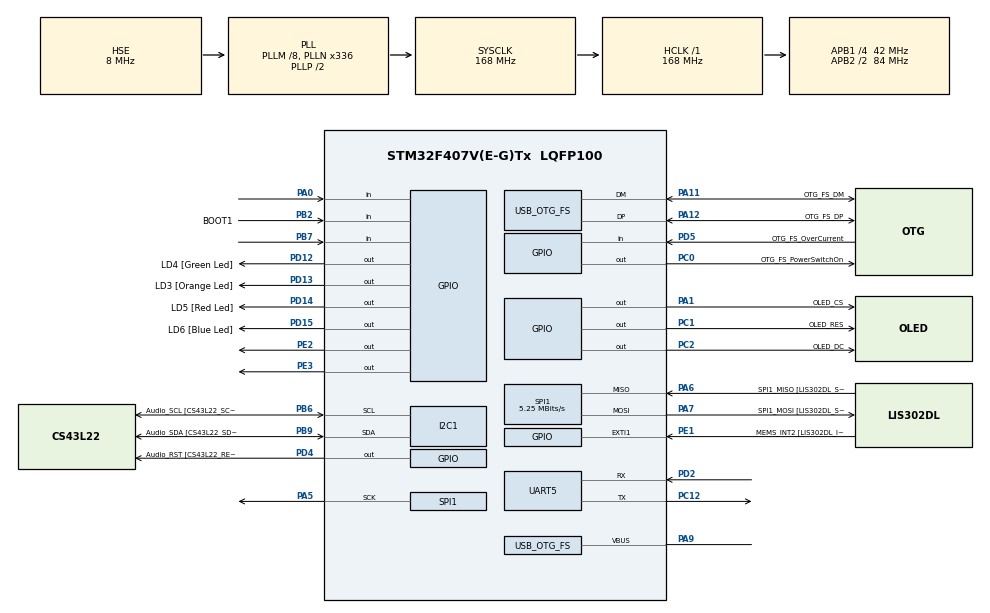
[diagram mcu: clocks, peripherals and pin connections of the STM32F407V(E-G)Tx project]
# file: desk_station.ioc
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FREERTOS.Tasks01=defaultTask,24,128,StartDefaultTask,Default,NULL,Dynamic,NULL,NULL
Mcu.Family=STM32F4
Mcu.Name=STM32F407V(E-G)Tx
Mcu.Package=LQFP100
NVIC.OTG_FS_IRQn=true\:5\:0\:false\:false\:true\:true\:true\:true\:true
NVIC.PriorityGroup=NVIC_PRIORITYGROUP_4
NVIC.TIM6_DAC_IRQn=true\:15\:0\:false\:false\:true\:false\:false\:true\:true
NVIC.TimeBase=TIM6_DAC_IRQn
NVIC.TimeBaseIP=TIM6
NVIC.UART5_IRQn=true\:5\:0\:false\:false\:true\:true\:true\:true\:true
PA0-WKUP.Signal=GPIO_Input
PA1.GPIO_Label=OLED_CS
PA1.GPIO_Speed=GPIO_SPEED_FREQ_HIGH
PA1.PinState=GPIO_PIN_SET
PA1.Signal=GPIO_Output
PA10.GPIO_Label=OTG_FS_ID
PA10.GPIO_Mode=GPIO_MODE_AF_PP
PA10.GPIO_PuPd=GPIO_NOPULL
PA10.GPIO_Speed=GPIO_SPEED_FREQ_LOW
PA10.Signal=USB_OTG_FS_ID
PA11.GPIO_Label=OTG_FS_DM
PA11.GPIO_Mode=GPIO_MODE_AF_PP
PA11.GPIO_PuPd=GPIO_NOPULL
PA11.GPIO_Speed=GPIO_SPEED_FREQ_LOW
PA11.Mode=Host_Only
PA11.Signal=USB_OTG_FS_DM
PA12.GPIO_Label=OTG_FS_DP
PA12.GPIO_Mode=GPIO_MODE_AF_PP
PA12.GPIO_PuPd=GPIO_NOPULL
PA12.GPIO_Speed=GPIO_SPEED_FREQ_LOW
PA12.Mode=Host_Only
PA12.Signal=USB_OTG_FS_DP
PA13.GPIO_Label=SWDIO
PA13.Mode=Serial_Wire
PA13.Signal=SYS_JTMS-SWDIO
PA14.GPIO_Label=SWCLK
PA14.Mode=Serial_Wire
PA14.Signal=SYS_JTCK-SWCLK
PA4.GPIO_Label=I2S3_WS [CS43L22_LRCK]
PA4.GPIO_Mode=GPIO_MODE_AF_PP
PA4.GPIO_PuPd=GPIO_NOPULL
PA4.GPIO_Speed=GPIO_SPEED_FREQ_LOW
PA4.Signal=I2S3_WS
PA5.Mode=Full_Duplex_Master
PA5.Signal=SPI1_SCK
PA6.GPIO_Label=SPI1_MISO [LIS302DL_SDO]
PA6.GPIO_Mode=GPIO_MODE_AF_PP
PA6.GPIO_PuPd=GPIO_NOPULL
PA6.GPIO_Speed=GPIO_SPEED_FREQ_LOW
PA6.Mode=Full_Duplex_Master
PA6.Signal=SPI1_MISO
PA7.GPIO_Label=SPI1_MOSI [LIS302DL_SDA/SDI/SDO]
PA7.GPIO_Mode=GPIO_MODE_AF_PP
PA7.GPIO_PuPd=GPIO_NOPULL
PA7.GPIO_Speed=GPIO_SPEED_FREQ_LOW
PA7.Mode=Full_Duplex_Master
PA7.Signal=SPI1_MOSI
PA9.Mode=Activate_VBUS
PA9.Signal=USB_OTG_FS_VBUS
PB10.GPIO_Label=CLK_IN [MP45DT02_CLK]
PB10.GPIO_Mode=GPIO_MODE_AF_PP
PB10.GPIO_PuPd=GPIO_NOPULL
PB10.GPIO_Speed=GPIO_SPEED_FREQ_LOW
PB10.Signal=I2S2_CK
PB2.GPIO_Label=BOOT1
PB2.GPIO_Mode=GPIO_MODE_INPUT
PB2.GPIO_PuPd=GPIO_NOPULL
PB2.Signal=GPIO_Input
PB3.GPIO_Label=SWO
PB3.Signal=SYS_JTDO-SWO
PB6.GPIO_Label=Audio_SCL [CS43L22_SCL]
PB6.GPIO_Mode=GPIO_MODE_AF_OD
PB6.GPIO_Pu=GPIO_PULLUP
PB6.GPIO_PuPd=GPIO_NOPULL
PB6.GPIO_Speed=GPIO_SPEED_FREQ_LOW
PB6.Mode=I2C
PB6.Signal=I2C1_SCL
PB7.GPIO_PuPd=GPIO_PULLDOWN
PB7.Signal=GPIO_Input
PB9.GPIO_Label=Audio_SDA [CS43L22_SDA]
PB9.GPIO_Mode=GPIO_MODE_AF_OD
PB9.GPIO_Pu=GPIO_PULLUP
PB9.GPIO_PuPd=GPIO_NOPULL
PB9.GPIO_Speed=GPIO_SPEED_FREQ_LOW
PB9.Mode=I2C
PB9.Signal=I2C1_SDA
PC0.GPIO_Label=OTG_FS_PowerSwitchOn
PC0.GPIO_PuPd=GPIO_NOPULL
PC0.GPIO_Speed=GPIO_SPEED_FREQ_LOW
PC0.PinState=GPIO_PIN_SET
PC0.Signal=GPIO_Output
PC1.GPIO_Label=OLED_RES
PC1.GPIO_Speed=GPIO_SPEED_FREQ_HIGH
PC1.PinState=GPIO_PIN_SET
PC1.Signal=GPIO_Output
PC10.GPIO_Label=I2S3_SCK [CS43L22_SCLK]
PC10.GPIO_Mode=GPIO_MODE_AF_PP
PC10.GPIO_PuPd=GPIO_NOPULL
PC10.GPIO_Speed=GPIO_SPEED_FREQ_LOW
PC10.Signal=I2S3_CK
PC12.Mode=Asynchronous
PC12.Signal=UART5_TX
PC14-OSC32_IN.GPIO_Label=PC14-OSC32_IN
PC14-OSC32_IN.Mode=LSE-External-Oscillator
PC14-OSC32_IN.Signal=RCC_OSC32_IN
PC15-OSC32_OUT.GPIO_Label=PC15-OSC32_OUT
PC15-OSC32_OUT.Mode=LSE-External-Oscillator
PC15-OSC32_OUT.Signal=RCC_OSC32_OUT
PC2.GPIO_Label=OLED_DC
PC2.GPIO_Speed=GPIO_SPEED_FREQ_HIGH
PC2.Signal=GPIO_Output
PC3.GPIO_Label=PDM_OUT [MP45DT02_DOUT]
PC3.GPIO_Mode=GPIO_MODE_AF_PP
PC3.GPIO_PuPd=GPIO_NOPULL
PC3.GPIO_Speed=GPIO_SPEED_FREQ_LOW
PC3.Signal=I2S2_SD
PC7.GPIO_Label=I2S3_MCK [CS43L22_MCLK]
PC7.GPIO_Mode=GPIO_MODE_AF_PP
PC7.GPIO_PuPd=GPIO_NOPULL
PC7.GPIO_Speed=GPIO_SPEED_FREQ_LOW
PC7.Signal=I2S3_MCK
PD12.GPIO_Label=LD4 [Green Led]
PD12.GPIO_PuPd=GPIO_NOPULL
PD12.GPIO_Speed=GPIO_SPEED_FREQ_LOW
PD12.Signal=GPIO_Output
PD13.GPIO_Label=LD3 [Orange Led]
PD13.GPIO_PuPd=GPIO_NOPULL
PD13.GPIO_Speed=GPIO_SPEED_FREQ_LOW
PD13.Signal=GPIO_Output
PD14.GPIO_Label=LD5 [Red Led]
PD14.GPIO_PuPd=GPIO_NOPULL
PD14.GPIO_Speed=GPIO_SPEED_FREQ_LOW
PD14.Signal=GPIO_Output
PD15.GPIO_Label=LD6 [Blue Led]
PD15.GPIO_PuPd=GPIO_NOPULL
PD15.GPIO_Speed=GPIO_SPEED_FREQ_LOW
PD15.Signal=GPIO_Output
PD2.Mode=Asynchronous
PD2.Signal=UART5_RX
PD4.GPIO_Label=Audio_RST [CS43L22_RESET]
PD4.GPIO_PuPd=GPIO_NOPULL
PD4.GPIO_Speed=GPIO_SPEED_FREQ_LOW
PD4.Signal=GPIO_Output
PD5.GPIO_Label=OTG_FS_OverCurrent
PD5.GPIO_Mode=GPIO_MODE_INPUT
PD5.GPIO_PuPd=GPIO_NOPULL
PD5.Signal=GPIO_Input
PE1.GPIO_Label=MEMS_INT2 [LIS302DL_INT2]
PE1.GPIO_ModeDefaultEXTI=GPIO_MODE_EVT_RISING
PE1.GPIO_PuPd=GPIO_NOPULL
PE1.Signal=GPXTI1
PE2.Signal=GPIO_Output
PE3.PinState=GPIO_PIN_SET
PE3.Signal=GPIO_Output
PH0-OSC_IN.GPIO_Label=PH0-OSC_IN
PH0-OSC_IN.Mode=HSE-External-Oscillator
PH0-OSC_IN.Signal=RCC_OSC_IN
PH1-OSC_OUT.GPIO_Label=PH1-OSC_OUT
PH1-OSC_OUT.Mode=HSE-External-Oscillator
PH1-OSC_OUT.Signal=RCC_OSC_OUT
ProjectManager.HeapSize=0x200
ProjectManager.StackSize=0x400
ProjectManager.TargetToolchain=STM32CubeIDE
RCC.48MHZClocksFreq_Value=48000000
RCC.AHBFreq_Value=168000000
RCC.APB1CLKDivider=RCC_HCLK_DIV4
RCC.APB1Freq_Value=42000000
RCC.APB1TimFreq_Value=84000000
RCC.APB2CLKDivider=RCC_HCLK_DIV2
RCC.APB2Freq_Value=84000000
RCC.APB2TimFreq_Value=168000000
RCC.CortexFreq_Value=168000000
RCC.HCLKFreq_Value=168000000
RCC.HSE_VALUE=8000000
RCC.HSI_VALUE=16000000
RCC.PLLM=8
RCC.PLLN=336
RCC.PLLQ=7
RCC.SYSCLKFreq_VALUE=168000000
RCC.SYSCLKSource=RCC_SYSCLKSOURCE_PLLCLK
RCC.VCOOutputFreq_Value=336000000
SPI1.BaudRatePrescaler=SPI_BAUDRATEPRESCALER_16
SPI1.CalculateBaudRate=5.25 MBits/s
SPI1.Direction=SPI_DIRECTION_2LINES
SPI1.Mode=SPI_MODE_MASTER
SPI1.VirtualType=VM_MASTER
UART5.VirtualMode=Asynchronous
USB_HOST.BSP.number=1
USB_HOST.USBH_HandleTypeDef-CDC_FS=hUsbHostFS
USB_HOST.USBH_USE_OS-CDC_FS=0
USB_HOST.VirtualModeFS=Cdc
USB_HOST0.BSP.STBoard=false
USB_HOST0.BSP.api=Unknown
USB_HOST0.BSP.instance=PC0
USB_HOST0.BSP.ip=GPIO
USB_HOST0.BSP.mode=Output
USB_HOST0.BSP.name=Drive_VBUS_FS
USB_HOST0.BSP.solution=PC0
USB_OTG_FS.VirtualMode=Host_Only
USB_OTG_FS.phy_itface=HCD_PHY_EMBEDDED
VP_FREERTOS_VS_CMSIS_V2.Mode=CMSIS_V2
VP_SYS_VS_tim6.Mode=TIM6
VP_USB_HOST_VS_USB_HOST_CDC_FS.Mode=CDC_FS
board=STM32F407G-DISC1

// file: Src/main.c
/* USER CODE BEGIN Header */
/**
  ******************************************************************************
  * @file           : main.c
  * @brief          : Main program body
  ******************************************************************************
  * @attention
  *
  * Copyright (c) 2026 STMicroelectronics.
  * All rights reserved.
  *
  * This software is licensed under terms that can be found in the LICENSE file
  * in the root directory of this software component.
  * If no LICENSE file comes with this software, it is provided AS-IS.
  *
  ******************************************************************************
  */
/* USER CODE END Header */
#include "main.h"
#include "cmsis_os.h"
#include "usb_host.h"

/* USER CODE BEGIN Includes */

#include <stdbool.h>
#include <stdlib.h>
#include <stdint.h>
#include <stdio.h>
#include <string.h>

/* USER CODE END Includes */

/* USER CODE BEGIN PTD */

typedef struct {
	GPIO_TypeDef *port;
	uint16_t pin;
	bool last_state;
	uint32_t last_debounce_tick;
} button_t;

typedef enum {
	REST,
	COUNTDOWN,
	ALARM
} timer_state_t;

typedef struct {
	uint16_t dig_T1;
	int16_t  dig_T2;
	int16_t  dig_T3;
} bmp280_calib_t;

/* USER CODE END PTD */

/* USER CODE BEGIN PD */

#define UART_RX_BUFFER_SIZE 32
#define ALARM_BLINK_INTERVAL_MS 500
#define BUTTON_DEBOUNCE_MS 50

#define OLED_WIDTH 128
#define OLED_HEIGHT 64

#define BMP280_I2C_ADDR (0x76 << 1)
#define BMP280_REG_ID 0xD0
#define BMP280_REG_CTRL_MEAS 0xF4
#define BMP280_REG_TEMP_MSB 0xFA
#define BMP280_REG_CALIB 0x88

/* USER CODE END PD */

I2C_HandleTypeDef hi2c1;

SPI_HandleTypeDef hspi1;

UART_HandleTypeDef huart5;

/* Definitions for defaultTask */
osThreadId_t defaultTaskHandle;
const osThreadAttr_t defaultTask_attributes = {
  .name = "defaultTask",
  .stack_size = 512 * 4,
  .priority = (osPriority_t) osPriorityNormal,
};

osThreadId_t sensorTaskHandle;
const osThreadAttr_t sensorTask_attributes = {
  .name = "sensorTask",
  .stack_size = 256 * 4,
  .priority = (osPriority_t) osPriorityBelowNormal,
};

/* USER CODE BEGIN PV */

osMutexId_t temperatureMutexHandle;
static float shared_temperature = 0.0f;

static uint32_t countdown_duration = 0;
static uint32_t timer_seconds_remaining = 0;
static timer_state_t timer_current_state = REST;
static uint32_t timer_start_tick = 0;
static uint32_t alarm_last_blink_tick = 0;

static uint8_t rx_byte = 0;
static char rx_line_buffer[UART_RX_BUFFER_SIZE];
static uint8_t rx_index = 0;
static volatile bool command_received = false;

static button_t start_button = {
	.port = GPIOA,
	.pin = GPIO_PIN_0,
	.last_state = 0,
	.last_debounce_tick = 0
};
static button_t stop_button = {
	.port = GPIOB,
	.pin = GPIO_PIN_7,
	.last_state = 0,
	.last_debounce_tick = 0
};

uint32_t last_display_tick = 0;
static uint8_t oled_buffer[OLED_WIDTH * OLED_HEIGHT / 8];
static const uint8_t font_map[][5] = {
    {0x00, 0x00, 0x00, 0x00, 0x00}, // Space (Index 0)
    {0x00, 0x00, 0x5F, 0x00, 0x00}, // !
    {0x00, 0x07, 0x00, 0x07, 0x00}, // "
    {0x14, 0x7F, 0x14, 0x7F, 0x14}, // #
    {0x24, 0x2A, 0x7F, 0x2A, 0x12}, // $
    {0x23, 0x13, 0x08, 0x64, 0x62}, // %
    {0x36, 0x49, 0x55, 0x22, 0x50}, // &
    {0x00, 0x05, 0x03, 0x00, 0x00}, // '
    {0x00, 0x1C, 0x22, 0x41, 0x00}, // (
    {0x00, 0x41, 0x22, 0x1C, 0x00}, // )
    {0x14, 0x08, 0x3E, 0x08, 0x14}, // *
    {0x08, 0x08, 0x3E, 0x08, 0x08}, // +
    {0x00, 0x50, 0x30, 0x00, 0x00}, // ,
    {0x08, 0x08, 0x08, 0x08, 0x08}, // -
    {0x00, 0x60, 0x60, 0x00, 0x00}, // .
    {0x20, 0x10, 0x08, 0x04, 0x02}, // /
    {0x3E, 0x51, 0x49, 0x45, 0x3E}, // 0 (Index 16)
    {0x00, 0x42, 0x7F, 0x40, 0x00}, // 1
    {0x42, 0x61, 0x51, 0x49, 0x46}, // 2
    {0x21, 0x41, 0x45, 0x4B, 0x31}, // 3
    {0x18, 0x14, 0x12, 0x7F, 0x10}, // 4
    {0x27, 0x45, 0x45, 0x45, 0x39}, // 5
    {0x3C, 0x4A, 0x49, 0x49, 0x30}, // 6
    {0x01, 0x71, 0x09, 0x05, 0x03}, // 7
    {0x36, 0x49, 0x49, 0x49, 0x36}, // 8
    {0x06, 0x49, 0x49, 0x29, 0x1E}, // 9
    {0x00, 0x36, 0x36, 0x00, 0x00}, // :
    {0x00, 0x56, 0x36, 0x00, 0x00}, // ;
    {0x08, 0x14, 0x22, 0x41, 0x00}, // <
    {0x14, 0x14, 0x14, 0x14, 0x14}, // =
    {0x00, 0x41, 0x22, 0x14, 0x08}, // >
    {0x02, 0x01, 0x51, 0x09, 0x06}, // ?
    {0x32, 0x49, 0x79, 0x41, 0x3E}, // @
    {0x7E, 0x11, 0x11, 0x11, 0x7E}, // A
    {0x7F, 0x49, 0x49, 0x49, 0x36}, // B
    {0x3E, 0x41, 0x41, 0x41, 0x22}, // C
    {0x7F, 0x41, 0x41, 0x22, 0x1C}, // D
    {0x7F, 0x49, 0x49, 0x49, 0x41}, // E
    {0x7F, 0x09, 0x09, 0x09, 0x01}, // F
    {0x3E, 0x41, 0x49, 0x49, 0x7A}, // G
    {0x7F, 0x08, 0x08, 0x08, 0x7F}, // H
    {0x00, 0x41, 0x7F, 0x41, 0x00}, // I
    {0x20, 0x40, 0x41, 0x3F, 0x01}, // J
    {0x7F, 0x08, 0x14, 0x22, 0x41}, // K
    {0x7F, 0x40, 0x40, 0x40, 0x40}, // L
    {0x7F, 0x02, 0x0C, 0x02, 0x7F}, // M
    {0x7F, 0x04, 0x08, 0x10, 0x7F}, // N
    {0x3E, 0x41, 0x41, 0x41, 0x3E}, // O
    {0x7F, 0x09, 0x09, 0x09, 0x06}, // P
    {0x3E, 0x41, 0x51, 0x21, 0x5E}, // Q
    {0x7F, 0x09, 0x19, 0x29, 0x46}, // R
    {0x46, 0x49, 0x49, 0x49, 0x31}, // S (Index 51)
    {0x01, 0x01, 0x7F, 0x01, 0x01}, // T
    {0x3F, 0x40, 0x40, 0x40, 0x3F}, // U
    {0x1F, 0x20, 0x40, 0x20, 0x1F}, // V
    {0x3F, 0x40, 0x38, 0x40, 0x3F}, // W
    {0x63, 0x14, 0x08, 0x14, 0x63}, // X
    {0x07, 0x08, 0x70, 0x08, 0x07}, // Y
    {0x61, 0x51, 0x49, 0x45, 0x43}  // Z
};

static bmp280_calib_t bmp_calib;

/* USER CODE END PV */

void SystemClock_Config(void);
static void MX_GPIO_Init(void);
static void MX_I2C1_Init(void);
static void MX_SPI1_Init(void);
static void MX_UART5_Init(void);
void StartDefaultTask(void *argument);

/* USER CODE BEGIN PFP */

static bool check_button_pressed(button_t *button, uint32_t now);
static uint32_t convert_input_to_ms(const char *input);

void oled_clear(void);
void oled_update(void);
void oled_draw_pixel(uint8_t x, uint8_t y, bool color);
void oled_draw_char(uint8_t x, uint8_t y, char c);
void oled_draw_string(uint8_t x, uint8_t y, const char *str);

bool bmp280_init(void);
float bmp280_read_temperature(void);
float bmp280_read_temperature_f(void);

void StartSensorTask(void *argument);

/* USER CODE END PFP */

/* USER CODE BEGIN 0 */

static bool check_button_pressed(button_t *button, uint32_t now) {
	bool pin_state = (HAL_GPIO_ReadPin(button -> port, button -> pin) == GPIO_PIN_SET);
	bool button_pressed = false;
	if (pin_state != button -> last_state && (now - button -> last_debounce_tick) >= BUTTON_DEBOUNCE_MS) {
		button -> last_state = pin_state;
		button -> last_debounce_tick = now;
		if (pin_state) button_pressed = true;
	}
	return button_pressed;
}

static void oled_write_cmd(uint8_t cmd) {
	HAL_GPIO_WritePin(OLED_DC_GPIO_Port, OLED_DC_Pin, GPIO_PIN_RESET);
	HAL_GPIO_WritePin(OLED_CS_GPIO_Port, OLED_CS_Pin, GPIO_PIN_RESET);
	HAL_SPI_Transmit(&hspi1, &cmd, 1, 10);
	HAL_GPIO_WritePin(OLED_CS_GPIO_Port, OLED_CS_Pin, GPIO_PIN_SET);
}

static void oled_write_data(uint8_t *data, uint16_t size) {
	HAL_GPIO_WritePin(OLED_DC_GPIO_Port, OLED_DC_Pin, GPIO_PIN_SET);
	HAL_GPIO_WritePin(OLED_CS_GPIO_Port, OLED_CS_Pin, GPIO_PIN_RESET);
	HAL_SPI_Transmit(&hspi1, data, size, 100);
	HAL_GPIO_WritePin(OLED_CS_GPIO_Port, OLED_CS_Pin, GPIO_PIN_SET);
}

void oled_init(void) {
	HAL_GPIO_WritePin(GPIOC, OLED_RES_Pin, GPIO_PIN_RESET);
	HAL_Delay(10);
	HAL_GPIO_WritePin(GPIOC, OLED_RES_Pin, GPIO_PIN_SET);
	HAL_Delay(10);

	oled_write_cmd(0xAE);

	oled_write_cmd(0x20);
	oled_write_cmd(0x00);

	oled_write_cmd(0xA8);
	oled_write_cmd(0x3F);

	oled_write_cmd(0xD3);
	oled_write_cmd(0x00);

	oled_write_cmd(0x40);

	oled_write_cmd(0xA1);

	oled_write_cmd(0xC8);

	oled_write_cmd(0xDA);
	oled_write_cmd(0x12);

	oled_write_cmd(0x81);
	oled_write_cmd(0x7F);

	oled_write_cmd(0xA4);

	oled_write_cmd(0xA6);

	oled_write_cmd(0xD5);
	oled_write_cmd(0x80);

	oled_write_cmd(0x8D);
	oled_write_cmd(0x14);

	oled_clear();
	oled_update();

	oled_write_cmd(0xAF);
}

void oled_clear(void) {
	memset(oled_buffer, 0, sizeof(oled_buffer));
}

void oled_update(void) {
	oled_write_cmd(0x21); oled_write_cmd(0); oled_write_cmd(OLED_WIDTH - 1);
	oled_write_cmd(0x22); oled_write_cmd(0); oled_write_cmd((OLED_HEIGHT / 8) - 1);
	oled_write_data(oled_buffer, sizeof(oled_buffer));
}

void oled_draw_pixel(uint8_t x, uint8_t y, bool color) {
	if (x >= OLED_WIDTH || y >= OLED_HEIGHT) return;
	if (color) {
		oled_buffer[x + (y / 8) * OLED_WIDTH] |= (1 << (y % 8));
	} else {
		oled_buffer[x + (y / 8) * OLED_WIDTH] &= ~(1 << (y % 8));
	}
}

void oled_draw_char(uint8_t x, uint8_t y, char c) {
	if (c < 32 || c > 90) return;
	uint8_t font_index = c - 32;
	for (uint8_t col = 0; col < 5; col++) {
		uint8_t line = font_map[font_index][col];
		for (uint8_t row = 0; row < 7; row++) {
			if (line & (1 << row)) {
				oled_draw_pixel(x + col, y + row, true);
			}
		}
	}
}

void oled_draw_string(uint8_t x, uint8_t y, const char *str) {
	while (*str) {
		if (x + 6 >= OLED_WIDTH) {
			x = 0;
			y += 8;
		}
		oled_draw_char(x, y, *str);
		x += 6;
		str++;
	}
}

bool bmp280_init(void) {
	uint8_t chip_id = 0;
	HAL_I2C_Mem_Read(&hi2c1, BMP280_I2C_ADDR, BMP280_REG_ID, 1, &chip_id, 1, 100);
	if (chip_id != 0x58) {
		return false;
	}

	uint8_t cali_raw[6];
	HAL_I2C_Mem_Read(&hi2c1, BMP280_I2C_ADDR, BMP280_REG_CALIB, 1, cali_raw, 6, 100);
	bmp_calib.dig_T1 = (uint16_t)(cali_raw[1] << 8) | cali_raw[0];
	bmp_calib.dig_T2 = (int16_t)(cali_raw[3] << 8) | cali_raw[2];
	bmp_calib.dig_T3 = (int16_t)(cali_raw[5] << 8) | cali_raw[4];

	uint8_t ctrl_meas = 0x23;
	HAL_I2C_Mem_Write(&hi2c1, BMP280_I2C_ADDR, BMP280_REG_CTRL_MEAS, 1, &ctrl_meas, 1, 100);

	return true;
}

float bmp280_read_temperature(void) {
	uint8_t raw[3];
	HAL_I2C_Mem_Read(&hi2c1, BMP280_I2C_ADDR, BMP280_REG_TEMP_MSB, 1, raw, 3, 100);

	int32_t adc_T = (int32_t)(((uint32_t)raw[0] << 12) | ((uint32_t)raw[1] << 4) | ((uint32_t)raw[2] >> 4));

	int32_t var1 = ((((adc_T >> 3) - ((int32_t)bmp_calib.dig_T1 << 1))) * ((int32_t)bmp_calib.dig_T2)) >> 11;
	int32_t var2 = (((((adc_T >> 4) - ((int32_t)bmp_calib.dig_T1)) * ((adc_T >> 4) - ((int32_t)bmp_calib.dig_T1))) >> 12) * ((int32_t)bmp_calib.dig_T3)) >> 14;
	int32_t t_fine = var1 + var2;

	int32_t T = (t_fine * 5 + 128) >> 8;
	return (float)T / 100.0f;
}

float bmp280_read_temperature_f(void) {
	float temp_c = bmp280_read_temperature();
	return (temp_c * 1.8f) + 32.0f;
}

/* USER CODE END 0 */

int main(void)
{

  /* MCU Configuration--------------------------------------------------------*/

  /* Reset of all peripherals, Initializes the Flash interface and the Systick. */
  HAL_Init();

  /* Configure the system clock */
  SystemClock_Config();

  /* Initialize all configured peripherals */
  MX_GPIO_Init();
  MX_I2C1_Init();
  MX_SPI1_Init();
  MX_UART5_Init();
  /* USER CODE BEGIN 2 */

  HAL_UART_Receive_IT(&huart5, &rx_byte, 1);

  oled_init();
  bmp280_init();

  /* USER CODE END 2 */

  /* Init scheduler */
  osKernelInitialize();

  /* USER CODE BEGIN RTOS_MUTEX */
  /* add mutexes, ... */

  temperatureMutexHandle = osMutexNew(NULL);

  /* USER CODE END RTOS_MUTEX */

  /* Create the thread(s) */
  /* creation of defaultTask */
  defaultTaskHandle = osThreadNew(StartDefaultTask, NULL, &defaultTask_attributes);
  sensorTaskHandle = osThreadNew(StartSensorTask, NULL, &sensorTask_attributes);

  /* Start scheduler */
  osKernelStart();

  /* We should never get here as control is now taken by the scheduler */

  /* Infinite loop */
  while (1)
  {

  }
}

void SystemClock_Config(void)
{
  RCC_OscInitTypeDef RCC_OscInitStruct = {0};
  RCC_ClkInitTypeDef RCC_ClkInitStruct = {0};

  /** Configure the main internal regulator output voltage
  */
  __HAL_RCC_PWR_CLK_ENABLE();
  __HAL_PWR_VOLTAGESCALING_CONFIG(PWR_REGULATOR_VOLTAGE_SCALE1);

  /** Initializes the RCC Oscillators according to the specified parameters
  * in the RCC_OscInitTypeDef structure.
  */
  RCC_OscInitStruct.OscillatorType = RCC_OSCILLATORTYPE_HSE;
  RCC_OscInitStruct.HSEState = RCC_HSE_ON;
  RCC_OscInitStruct.PLL.PLLState = RCC_PLL_ON;
  RCC_OscInitStruct.PLL.PLLSource = RCC_PLLSOURCE_HSE;
  RCC_OscInitStruct.PLL.PLLM = 8;
  RCC_OscInitStruct.PLL.PLLN = 336;
  RCC_OscInitStruct.PLL.PLLP = RCC_PLLP_DIV2;
  RCC_OscInitStruct.PLL.PLLQ = 7;
  if (HAL_RCC_OscConfig(&RCC_OscInitStruct) != HAL_OK)
  {
    Error_Handler();
  }

  /** Initializes the CPU, AHB and APB buses clocks
  */
  RCC_ClkInitStruct.ClockType = RCC_CLOCKTYPE_HCLK|RCC_CLOCKTYPE_SYSCLK
                              |RCC_CLOCKTYPE_PCLK1|RCC_CLOCKTYPE_PCLK2;
  RCC_ClkInitStruct.SYSCLKSource = RCC_SYSCLKSOURCE_PLLCLK;
  RCC_ClkInitStruct.AHBCLKDivider = RCC_SYSCLK_DIV1;
  RCC_ClkInitStruct.APB1CLKDivider = RCC_HCLK_DIV4;
  RCC_ClkInitStruct.APB2CLKDivider = RCC_HCLK_DIV2;

  if (HAL_RCC_ClockConfig(&RCC_ClkInitStruct, FLASH_LATENCY_5) != HAL_OK)
  {
    Error_Handler();
  }
}

static void MX_I2C1_Init(void)
{

  hi2c1.Instance = I2C1;
  hi2c1.Init.ClockSpeed = 100000;
  hi2c1.Init.DutyCycle = I2C_DUTYCYCLE_2;
  hi2c1.Init.OwnAddress1 = 0;
  hi2c1.Init.AddressingMode = I2C_ADDRESSINGMODE_7BIT;
  hi2c1.Init.DualAddressMode = I2C_DUALADDRESS_DISABLE;
  hi2c1.Init.OwnAddress2 = 0;
  hi2c1.Init.GeneralCallMode = I2C_GENERALCALL_DISABLE;
  hi2c1.Init.NoStretchMode = I2C_NOSTRETCH_DISABLE;
  if (HAL_I2C_Init(&hi2c1) != HAL_OK)
  {
    Error_Handler();
  }

}

static void MX_SPI1_Init(void)
{

  /* SPI1 parameter configuration*/
  hspi1.Instance = SPI1;
  hspi1.Init.Mode = SPI_MODE_MASTER;
  hspi1.Init.Direction = SPI_DIRECTION_2LINES;
  hspi1.Init.DataSize = SPI_DATASIZE_8BIT;
  hspi1.Init.CLKPolarity = SPI_POLARITY_LOW;
  hspi1.Init.CLKPhase = SPI_PHASE_1EDGE;
  hspi1.Init.NSS = SPI_NSS_SOFT;
  hspi1.Init.BaudRatePrescaler = SPI_BAUDRATEPRESCALER_16;
  hspi1.Init.FirstBit = SPI_FIRSTBIT_MSB;
  hspi1.Init.TIMode = SPI_TIMODE_DISABLE;
  hspi1.Init.CRCCalculation = SPI_CRCCALCULATION_DISABLE;
  hspi1.Init.CRCPolynomial = 10;
  if (HAL_SPI_Init(&hspi1) != HAL_OK)
  {
    Error_Handler();
  }

}

static void MX_UART5_Init(void)
{

  huart5.Instance = UART5;
  huart5.Init.BaudRate = 115200;
  huart5.Init.WordLength = UART_WORDLENGTH_8B;
  huart5.Init.StopBits = UART_STOPBITS_1;
  huart5.Init.Parity = UART_PARITY_NONE;
  huart5.Init.Mode = UART_MODE_TX_RX;
  huart5.Init.HwFlowCtl = UART_HWCONTROL_NONE;
  huart5.Init.OverSampling = UART_OVERSAMPLING_16;
  if (HAL_UART_Init(&huart5) != HAL_OK)
  {
    Error_Handler();
  }

}

static void MX_GPIO_Init(void)
{
  GPIO_InitTypeDef GPIO_InitStruct = {0};

  /* GPIO Ports Clock Enable */
  __HAL_RCC_GPIOE_CLK_ENABLE();
  __HAL_RCC_GPIOC_CLK_ENABLE();
  __HAL_RCC_GPIOH_CLK_ENABLE();
  __HAL_RCC_GPIOA_CLK_ENABLE();
  __HAL_RCC_GPIOB_CLK_ENABLE();
  __HAL_RCC_GPIOD_CLK_ENABLE();

  /*Configure GPIO pin Output Level */
  HAL_GPIO_WritePin(GPIOE, GPIO_PIN_2, GPIO_PIN_RESET);

  /*Configure GPIO pin Output Level */
  HAL_GPIO_WritePin(GPIOE, GPIO_PIN_3, GPIO_PIN_SET);

  /*Configure GPIO pin Output Level */
  HAL_GPIO_WritePin(GPIOC, OTG_FS_PowerSwitchOn_Pin|OLED_RES_Pin, GPIO_PIN_SET);

  /*Configure GPIO pin Output Level */
  HAL_GPIO_WritePin(OLED_DC_GPIO_Port, OLED_DC_Pin, GPIO_PIN_RESET);

  /*Configure GPIO pin Output Level */
  HAL_GPIO_WritePin(OLED_CS_GPIO_Port, OLED_CS_Pin, GPIO_PIN_SET);

  /*Configure GPIO pin Output Level */
  HAL_GPIO_WritePin(GPIOD, LD4_Pin|LD3_Pin|LD5_Pin|LD6_Pin
                          |Audio_RST_Pin, GPIO_PIN_RESET);

  /*Configure GPIO pins : PE2 PE3 */
  GPIO_InitStruct.Pin = GPIO_PIN_2|GPIO_PIN_3;
  GPIO_InitStruct.Mode = GPIO_MODE_OUTPUT_PP;
  GPIO_InitStruct.Pull = GPIO_NOPULL;
  GPIO_InitStruct.Speed = GPIO_SPEED_FREQ_LOW;
  HAL_GPIO_Init(GPIOE, &GPIO_InitStruct);

  /*Configure GPIO pin : OTG_FS_PowerSwitchOn_Pin */
  GPIO_InitStruct.Pin = OTG_FS_PowerSwitchOn_Pin;
  GPIO_InitStruct.Mode = GPIO_MODE_OUTPUT_PP;
  GPIO_InitStruct.Pull = GPIO_NOPULL;
  GPIO_InitStruct.Speed = GPIO_SPEED_FREQ_LOW;
  HAL_GPIO_Init(OTG_FS_PowerSwitchOn_GPIO_Port, &GPIO_InitStruct);

  /*Configure GPIO pins : OLED_RES_Pin OLED_DC_Pin */
  GPIO_InitStruct.Pin = OLED_RES_Pin|OLED_DC_Pin;
  GPIO_InitStruct.Mode = GPIO_MODE_OUTPUT_PP;
  GPIO_InitStruct.Pull = GPIO_NOPULL;
  GPIO_InitStruct.Speed = GPIO_SPEED_FREQ_HIGH;
  HAL_GPIO_Init(GPIOC, &GPIO_InitStruct);

  /*Configure GPIO pin : PDM_OUT_Pin */
  GPIO_InitStruct.Pin = PDM_OUT_Pin;
  GPIO_InitStruct.Mode = GPIO_MODE_AF_PP;
  GPIO_InitStruct.Pull = GPIO_NOPULL;
  GPIO_InitStruct.Speed = GPIO_SPEED_FREQ_LOW;
  GPIO_InitStruct.Alternate = GPIO_AF5_SPI2;
  HAL_GPIO_Init(PDM_OUT_GPIO_Port, &GPIO_InitStruct);

  /*Configure GPIO pin : PA0 */
  GPIO_InitStruct.Pin = GPIO_PIN_0;
  GPIO_InitStruct.Mode = GPIO_MODE_INPUT;
  GPIO_InitStruct.Pull = GPIO_NOPULL;
  HAL_GPIO_Init(GPIOA, &GPIO_InitStruct);

  /*Configure GPIO pin : OLED_CS_Pin */
  GPIO_InitStruct.Pin = OLED_CS_Pin;
  GPIO_InitStruct.Mode = GPIO_MODE_OUTPUT_PP;
  GPIO_InitStruct.Pull = GPIO_NOPULL;
  GPIO_InitStruct.Speed = GPIO_SPEED_FREQ_HIGH;
  HAL_GPIO_Init(OLED_CS_GPIO_Port, &GPIO_InitStruct);

  /*Configure GPIO pin : I2S3_WS_Pin */
  GPIO_InitStruct.Pin = I2S3_WS_Pin;
  GPIO_InitStruct.Mode = GPIO_MODE_AF_PP;
  GPIO_InitStruct.Pull = GPIO_NOPULL;
  GPIO_InitStruct.Speed = GPIO_SPEED_FREQ_LOW;
  HAL_GPIO_Init(I2S3_WS_GPIO_Port, &GPIO_InitStruct);

  /*Configure GPIO pin : BOOT1_Pin */
  GPIO_InitStruct.Pin = BOOT1_Pin;
  GPIO_InitStruct.Mode = GPIO_MODE_INPUT;
  GPIO_InitStruct.Pull = GPIO_NOPULL;
  HAL_GPIO_Init(BOOT1_GPIO_Port, &GPIO_InitStruct);

  /*Configure GPIO pin : CLK_IN_Pin */
  GPIO_InitStruct.Pin = CLK_IN_Pin;
  GPIO_InitStruct.Mode = GPIO_MODE_AF_PP;
  GPIO_InitStruct.Pull = GPIO_NOPULL;
  GPIO_InitStruct.Speed = GPIO_SPEED_FREQ_LOW;
  HAL_GPIO_Init(CLK_IN_GPIO_Port, &GPIO_InitStruct);

  /*Configure GPIO pins : LD4_Pin LD3_Pin LD5_Pin LD6_Pin
                           Audio_RST_Pin */
  GPIO_InitStruct.Pin = LD4_Pin|LD3_Pin|LD5_Pin|LD6_Pin
                          |Audio_RST_Pin;
  GPIO_InitStruct.Mode = GPIO_MODE_OUTPUT_PP;
  GPIO_InitStruct.Pull = GPIO_NOPULL;
  GPIO_InitStruct.Speed = GPIO_SPEED_FREQ_LOW;
  HAL_GPIO_Init(GPIOD, &GPIO_InitStruct);

  /*Configure GPIO pins : I2S3_MCK_Pin I2S3_SCK_Pin */
  GPIO_InitStruct.Pin = I2S3_MCK_Pin|I2S3_SCK_Pin;
  GPIO_InitStruct.Mode = GPIO_MODE_AF_PP;
  GPIO_InitStruct.Pull = GPIO_NOPULL;
  GPIO_InitStruct.Speed = GPIO_SPEED_FREQ_LOW;
  HAL_GPIO_Init(GPIOC, &GPIO_InitStruct);

  /*Configure GPIO pin : OTG_FS_OverCurrent_Pin */
  GPIO_InitStruct.Pin = OTG_FS_OverCurrent_Pin;
  GPIO_InitStruct.Mode = GPIO_MODE_INPUT;
  GPIO_InitStruct.Pull = GPIO_NOPULL;
  HAL_GPIO_Init(OTG_FS_OverCurrent_GPIO_Port, &GPIO_InitStruct);

  /*Configure GPIO pin : PB7 */
  GPIO_InitStruct.Pin = GPIO_PIN_7;
  GPIO_InitStruct.Mode = GPIO_MODE_INPUT;
  GPIO_InitStruct.Pull = GPIO_PULLDOWN;
  HAL_GPIO_Init(GPIOB, &GPIO_InitStruct);

  /*Configure GPIO pin : MEMS_INT2_Pin */
  GPIO_InitStruct.Pin = MEMS_INT2_Pin;
  GPIO_InitStruct.Mode = GPIO_MODE_EVT_RISING;
  GPIO_InitStruct.Pull = GPIO_NOPULL;
  HAL_GPIO_Init(MEMS_INT2_GPIO_Port, &GPIO_InitStruct);

}

/* USER CODE BEGIN 4 */

static uint32_t convert_input_to_ms(const char *input) {
	if (input == NULL) {
		return 0;
	}

	char *endptr = NULL;
	unsigned long sec = strtoul(input, &endptr, 10);

	if (input == endptr || sec == 0) {
		return 0;
	}

	return (uint32_t)(sec * 1000);
}

void HAL_UART_RxCpltCallback(UART_HandleTypeDef *huart) {
    if (huart->Instance == UART5) {
		HAL_UART_Transmit(&huart5, &rx_byte, 1, 10);

		if (rx_byte == '\r' || rx_byte == '\n') {
			if (rx_index > 0) {
				rx_line_buffer[rx_index] = '\0';
				command_received = true;
				rx_index = 0;

				uint8_t crlf[] = "\r\n";
				HAL_UART_Transmit(&huart5, crlf, 2, 10);

			}
		}
		else if (rx_byte == '\b' || rx_byte == 127) {
			if (rx_index > 0) {
				rx_index--;

				uint8_t backspace[] = "\b \b";
				HAL_UART_Transmit(&huart5, backspace, 3, 10);
			}
		} else if (rx_index < (UART_RX_BUFFER_SIZE - 1)) {
			rx_line_buffer[rx_index++] = (char)rx_byte;
		}

		HAL_UART_Receive_IT(&huart5, &rx_byte, 1);
    }
}

/* USER CODE END 4 */

void StartDefaultTask(void *argument)
{
	/* init code for USB_HOST */
	MX_USB_HOST_Init();
	/* USER CODE BEGIN 5 */

	for(;;)
	{
		uint32_t now = osKernelGetTickCount();

		bool start_pressed = check_button_pressed(&start_button, now);
		bool stop_pressed = check_button_pressed(&stop_button, now);

		if (command_received) {
			command_received = false;
			uint32_t converted_ms = convert_input_to_ms(rx_line_buffer);

			if (converted_ms > 0) {
				countdown_duration = converted_ms;
				timer_seconds_remaining = converted_ms / 1000;
			}
		}

		switch (timer_current_state) {
			case REST:
				HAL_GPIO_WritePin(GPIOE, GPIO_PIN_2, GPIO_PIN_RESET);
				if (start_pressed && countdown_duration > 0) {
					timer_current_state = COUNTDOWN;
					timer_seconds_remaining = countdown_duration / 1000;
					timer_start_tick = now;
				}
				break;

			case COUNTDOWN:
				if (stop_pressed) {
					timer_seconds_remaining = 0;
					timer_current_state = REST;
				} else if ((now - timer_start_tick) >= countdown_duration) {
					timer_seconds_remaining = 0;
					timer_current_state = ALARM;
					alarm_last_blink_tick = now;
				} else {
					uint32_t elapsed = now - timer_start_tick;
					timer_seconds_remaining = (countdown_duration - elapsed + 999) / 1000;
				}
				break;

			case ALARM:
				if (stop_pressed) {
					HAL_GPIO_WritePin(GPIOE, GPIO_PIN_2, GPIO_PIN_RESET);
					timer_current_state = REST;
				} else if ((now - alarm_last_blink_tick) >= ALARM_BLINK_INTERVAL_MS) {
					HAL_GPIO_TogglePin(GPIOE, GPIO_PIN_2);
					alarm_last_blink_tick = now;
				}
				break;
		}

		if ((now - last_display_tick) >= 100) {
			last_display_tick = now;

			oled_clear();

			oled_draw_string(49, 8, "TIMER");
			char time_str[16];
			uint32_t secs = timer_seconds_remaining;
			snprintf(time_str, sizeof(time_str), "%02lu", secs);
			oled_draw_string(58, 22, time_str);

			// temperature sensor mutex
			float temperature_to_render = 0.0f;
			if (osMutexAcquire(temperatureMutexHandle, 10U) == osOK) {
				temperature_to_render = shared_temperature;
				osMutexRelease(temperatureMutexHandle);
			}

			char temp_str[16];
			int whole = (int)temperature_to_render;
			int fraction = (int)((temperature_to_render - (float)whole) * 10.0f);
			if (fraction < 0) fraction = -fraction;
			snprintf(temp_str, sizeof(temp_str), "%d.%d F", whole, fraction);
			oled_draw_string(43, 44, temp_str);

			oled_update();
		}

		osDelay(10);
	}
}

void StartSensorTask(void *argument)
{
	for(;;)
	{
		float new_temperature = bmp280_read_temperature_f();

		if (osMutexAcquire(temperatureMutexHandle, 100U) == osOK)
		{
			shared_temperature = new_temperature;
			osMutexRelease(temperatureMutexHandle);
		}

		osDelay(1500);
	}
	/* USER CODE END 5 */
}

void HAL_TIM_PeriodElapsedCallback(TIM_HandleTypeDef *htim)
{
  if (htim->Instance == TIM6)
  {
    HAL_IncTick();
  }
}

void Error_Handler(void)
{
  __disable_irq();
  while (1)
  {
  }
}
